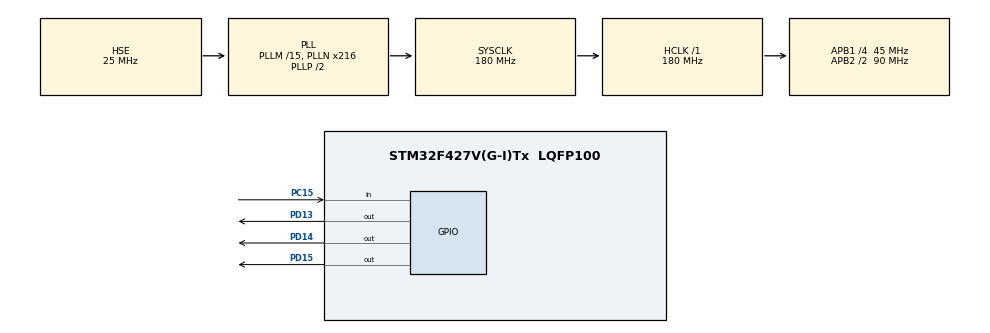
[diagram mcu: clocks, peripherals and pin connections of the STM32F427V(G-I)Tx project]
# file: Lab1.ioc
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Mcu.Family=STM32F4
Mcu.Name=STM32F427V(G-I)Tx
Mcu.Package=LQFP100
NVIC.PriorityGroup=NVIC_PRIORITYGROUP_4
PC15/OSC32_OUT.Signal=GPIO_Input
PD13.Signal=GPIO_Output
PD14.Signal=GPIO_Output
PD15.Signal=GPIO_Output
PH0/OSC_IN.Mode=HSE-External-Oscillator
PH0/OSC_IN.Signal=RCC_OSC_IN
PH1/OSC_OUT.Mode=HSE-External-Oscillator
PH1/OSC_OUT.Signal=RCC_OSC_OUT
ProjectManager.HeapSize=0x200
ProjectManager.StackSize=0x400
ProjectManager.TargetToolchain=Makefile
RCC.48MHZClocksFreq_Value=90000000
RCC.AHBFreq_Value=180000000
RCC.APB1CLKDivider=RCC_HCLK_DIV4
RCC.APB1Freq_Value=45000000
RCC.APB1TimFreq_Value=90000000
RCC.APB2CLKDivider=RCC_HCLK_DIV2
RCC.APB2Freq_Value=90000000
RCC.APB2TimFreq_Value=180000000
RCC.CortexFreq_Value=180000000
RCC.HCLKFreq_Value=180000000
RCC.HSE_VALUE=25000000
RCC.HSI_VALUE=16000000
RCC.LSE_VALUE=32768
RCC.PLLM=15
RCC.PLLN=216
RCC.PLLSourceVirtual=RCC_PLLSOURCE_HSE
RCC.SYSCLKFreq_VALUE=180000000
RCC.SYSCLKSource=RCC_SYSCLKSOURCE_PLLCLK
RCC.VCOOutputFreq_Value=360000000
board=custom

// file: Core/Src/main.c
/* USER CODE BEGIN Header */
/**
 ******************************************************************************
 * @file           : main.c
 * @brief          : Main program body
 ******************************************************************************
 * @attention
 *
 * Copyright (c) 2024 STMicroelectronics.
 * All rights reserved.
 *
 * This software is licensed under terms that can be found in the LICENSE file
 * in the root directory of this software component.
 * If no LICENSE file comes with this software, it is provided AS-IS.
 *
 ******************************************************************************
 */
/* USER CODE END Header */
#include "main.h"

void SystemClock_Config(void);
static void MX_GPIO_Init(void);

/* USER CODE BEGIN 0 */
void BlinkRed()
{
  HAL_GPIO_WritePin(GPIOD, GPIO_PIN_14, GPIO_PIN_SET);
  HAL_GPIO_WritePin(GPIOD, GPIO_PIN_15, GPIO_PIN_RESET);
  HAL_Delay(200);
  HAL_GPIO_WritePin(GPIOD, GPIO_PIN_14, GPIO_PIN_RESET);
  HAL_GPIO_WritePin(GPIOD, GPIO_PIN_15, GPIO_PIN_RESET);
}

void BlinkYellow()
{
  HAL_GPIO_WritePin(GPIOD, GPIO_PIN_14, GPIO_PIN_RESET);
  HAL_GPIO_WritePin(GPIOD, GPIO_PIN_15, GPIO_PIN_SET);
  HAL_Delay(200);
  HAL_GPIO_WritePin(GPIOD, GPIO_PIN_14, GPIO_PIN_RESET);
  HAL_GPIO_WritePin(GPIOD, GPIO_PIN_15, GPIO_PIN_RESET);
}

void BlinkDot()
{
  HAL_GPIO_WritePin(GPIOD, GPIO_PIN_13, GPIO_PIN_SET);
  HAL_Delay(200);
  HAL_GPIO_WritePin(GPIOD, GPIO_PIN_13, GPIO_PIN_RESET);
  HAL_Delay(200);
}

void BlinkDash()
{
  HAL_GPIO_WritePin(GPIOD, GPIO_PIN_13, GPIO_PIN_SET);
  HAL_Delay(1000);
  HAL_GPIO_WritePin(GPIOD, GPIO_PIN_13, GPIO_PIN_RESET);
  HAL_Delay(200);
}
/* USER CODE END 0 */

int main(void)
{

  /* MCU Configuration--------------------------------------------------------*/

  /* Reset of all peripherals, Initializes the Flash interface and the Systick. */
  HAL_Init();

  /* Configure the system clock */
  SystemClock_Config();

  /* Initialize all configured peripherals */
  MX_GPIO_Init();
  /* USER CODE BEGIN 2 */
  _Bool was_pressed = 0;
  _Bool is_long_press = 0;
  uint32_t wait = 500;
  int last_pressed = 0;
  int code[128] = {0};
  size_t index = 0;
  /* USER CODE END 2 */

  /* Infinite loop */
  /* USER CODE BEGIN WHILE */
  while (1)
  {
    // HAL_GPIO_WritePin(GPIOD, GPIO_PIN_13, GPIO_PIN_SET);
    // HAL_Delay(1000);
    // HAL_GPIO_WritePin(GPIOD, GPIO_PIN_13, GPIO_PIN_RESET);
    // HAL_Delay(1000);
    int start_time;
    int button_state = HAL_GPIO_ReadPin(GPIOC, GPIO_PIN_15);
    was_pressed = 0;
    is_long_press = 0;

    if (!button_state)
    {
      start_time = HAL_GetTick();
    }
    while (!button_state)
    {
      was_pressed = 1;
      if (HAL_GetTick() - start_time >= wait)
      {
        is_long_press = 1;
      }
      button_state = HAL_GPIO_ReadPin(GPIOC, GPIO_PIN_15);
    }

    if (was_pressed)
    {
      last_pressed = HAL_GetTick();
      if (is_long_press)
      {
        BlinkRed();
        code[index++] = 2;
      }
      else
      {
        BlinkYellow();
        code[index++] = 1;
      }
    }

    if (HAL_GetTick() - last_pressed > 1000)
    {
      for (int i = 0; i < index; i++)
      {
        code[i] == 1 ? BlinkDot() : BlinkDash();
      }
      index = 0;
    }
    /* USER CODE END WHILE */

  }
}

void SystemClock_Config(void)
{
  RCC_OscInitTypeDef RCC_OscInitStruct = {0};
  RCC_ClkInitTypeDef RCC_ClkInitStruct = {0};

  /** Configure the main internal regulator output voltage
   */
  __HAL_RCC_PWR_CLK_ENABLE();
  __HAL_PWR_VOLTAGESCALING_CONFIG(PWR_REGULATOR_VOLTAGE_SCALE1);

  /** Initializes the RCC Oscillators according to the specified parameters
   * in the RCC_OscInitTypeDef structure.
   */
  RCC_OscInitStruct.OscillatorType = RCC_OSCILLATORTYPE_HSE;
  RCC_OscInitStruct.HSEState = RCC_HSE_ON;
  RCC_OscInitStruct.PLL.PLLState = RCC_PLL_ON;
  RCC_OscInitStruct.PLL.PLLSource = RCC_PLLSOURCE_HSE;
  RCC_OscInitStruct.PLL.PLLM = 15;
  RCC_OscInitStruct.PLL.PLLN = 216;
  RCC_OscInitStruct.PLL.PLLP = RCC_PLLP_DIV2;
  RCC_OscInitStruct.PLL.PLLQ = 4;
  if (HAL_RCC_OscConfig(&RCC_OscInitStruct) != HAL_OK)
  {
    Error_Handler();
  }

  /** Activate the Over-Drive mode
   */
  if (HAL_PWREx_EnableOverDrive() != HAL_OK)
  {
    Error_Handler();
  }

  /** Initializes the CPU, AHB and APB buses clocks
   */
  RCC_ClkInitStruct.ClockType = RCC_CLOCKTYPE_HCLK | RCC_CLOCKTYPE_SYSCLK | RCC_CLOCKTYPE_PCLK1 | RCC_CLOCKTYPE_PCLK2;
  RCC_ClkInitStruct.SYSCLKSource = RCC_SYSCLKSOURCE_PLLCLK;
  RCC_ClkInitStruct.AHBCLKDivider = RCC_SYSCLK_DIV1;
  RCC_ClkInitStruct.APB1CLKDivider = RCC_HCLK_DIV4;
  RCC_ClkInitStruct.APB2CLKDivider = RCC_HCLK_DIV2;

  if (HAL_RCC_ClockConfig(&RCC_ClkInitStruct, FLASH_LATENCY_5) != HAL_OK)
  {
    Error_Handler();
  }
}

static void MX_GPIO_Init(void)
{
  GPIO_InitTypeDef GPIO_InitStruct = {0};

  /* GPIO Ports Clock Enable */
  __HAL_RCC_GPIOC_CLK_ENABLE();
  __HAL_RCC_GPIOH_CLK_ENABLE();
  __HAL_RCC_GPIOD_CLK_ENABLE();

  /*Configure GPIO pin Output Level */
  HAL_GPIO_WritePin(GPIOD, GPIO_PIN_13 | GPIO_PIN_14 | GPIO_PIN_15, GPIO_PIN_RESET);

  /*Configure GPIO pin : PC15 */
  GPIO_InitStruct.Pin = GPIO_PIN_15;
  GPIO_InitStruct.Mode = GPIO_MODE_INPUT;
  GPIO_InitStruct.Pull = GPIO_NOPULL;
  HAL_GPIO_Init(GPIOC, &GPIO_InitStruct);

  /*Configure GPIO pins : PD13 PD14 PD15 */
  GPIO_InitStruct.Pin = GPIO_PIN_13 | GPIO_PIN_14 | GPIO_PIN_15;
  GPIO_InitStruct.Mode = GPIO_MODE_OUTPUT_PP;
  GPIO_InitStruct.Pull = GPIO_NOPULL;
  GPIO_InitStruct.Speed = GPIO_SPEED_FREQ_LOW;
  HAL_GPIO_Init(GPIOD, &GPIO_InitStruct);

}

void Error_Handler(void)
{
  __disable_irq();
  while (1)
  {
  }
}
